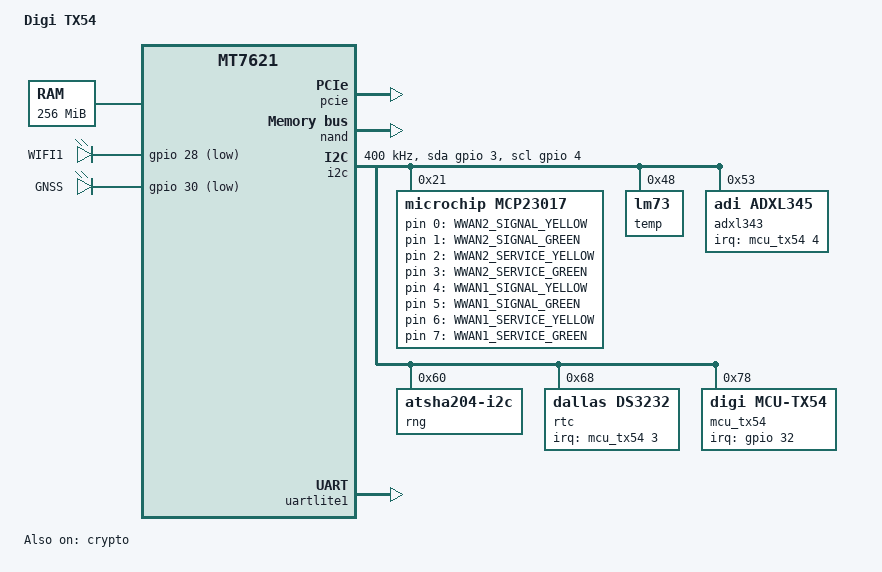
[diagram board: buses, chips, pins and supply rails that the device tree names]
/dts-v1/;

#include "mt7621.dtsi"
#include <dt-bindings/gpio/gpio.h>
#include "mt7621_pstore.dtsi"

/ {
	model = "Digi TX54";
	compatible = "digi,tx54", "mediatek,mt7621-soc";

	memory@0 {
		device_type = "memory";
		reg = <0x0 0x10000000>;
	};

	/* Have to swap serial port 0 and 1, because of historical reasons
	 * (bootloader is passing ttyS1 as console port) */
	aliases {
		serial0 = &uartlite1;
		serial1 = &uartlite0;
		serial2 = &uartlite2;
	};

	chosen {
		stdout-path = "serial1:115200";
	};

	leds {
		compatible = "gpio-leds";

		wwan2_signal_yellow {
			label = "WWAN2_SIGNAL_YELLOW";
			gpios = <&mcp23017 0 GPIO_ACTIVE_HIGH>;
			default-state = "off";
		};

		wwan2_signal_green {
			label = "WWAN2_SIGNAL_GREEN";
			gpios = <&mcp23017 1 GPIO_ACTIVE_HIGH>;
			default-state = "off";
		};

		wwan2_service_yellow {
			label = "WWAN2_SERVICE_YELLOW";
			gpios = <&mcp23017 2 GPIO_ACTIVE_HIGH>;
			default-state = "off";
		};

		wwan2_service_green {
			label = "WWAN2_SERVICE_GREEN";
			gpios = <&mcp23017 3 GPIO_ACTIVE_HIGH>;
			default-state = "off";
		};

		wwan1_signal_yellow {
			label = "WWAN1_SIGNAL_YELLOW";
			gpios = <&mcp23017 4 GPIO_ACTIVE_HIGH>;
			default-state = "off";
		};

		wwan1_signal_green {
			label = "WWAN1_SIGNAL_GREEN";
			gpios = <&mcp23017 5 GPIO_ACTIVE_HIGH>;
			default-state = "off";
		};

		wwan1_service_yellow {
			label = "WWAN1_SERVICE_YELLOW";
			gpios = <&mcp23017 6 GPIO_ACTIVE_HIGH>;
			default-state = "off";
		};

		wwan1_service_green {
			label = "WWAN1_SERVICE_GREEN";
			gpios = <&mcp23017 7 GPIO_ACTIVE_HIGH>;
			default-state = "off";
		};

		wifi1_green {
			label = "WIFI1";
			gpios = <&gpio 28 GPIO_ACTIVE_LOW>;
			default-state = "off";
		};

		gnss_green {
			label = "GNSS";
			gpios = <&gpio 30 GPIO_ACTIVE_LOW>;
			default-state = "off";
		};
	};
};

&pcie {
	pinctrl-names = "default";
	pinctrl-0 = <&pcie_pins>;
	status = "okay";
};

&nand {
	status = "okay";
	pin-ctrl-names = "default";
	pinctrl-0 = <&nand_pins>;

	partition@0 {
		label = "all";
		reg = <0x00000000 0>;
	};
	partition@1 {
		label = "u-boot";
		reg = <0x00000000 0x00200000>;
	};
	partition@2 {
		label = "u-boot-env";
		reg = <0x00200000 0x00100000>;
	};
	partition@3 {
		label = "u-boot-env1";
		reg = <0x00300000 0x00100000>;
	};
	partition@4 {
		label = "flash";
		reg = <0x00400000 0x09c00000>;
	};
	partition@5 {
		label = "userfs";
		reg = <0x0a000000 0x15f40000>;
	};
	partition@6 {
		label = "csid";
		reg = <0x1ff40000 0x00020000>;
	};
	partition@7 {
		label = "odm";
		reg = <0x1ff60000 0x00020000>;
	};
};

/* Overwrite dtsi's pinctrl. TX54 is using RGMII2 pins as GPIOs */
&ethernet {
	pinctrl-0 = <&mdio_pins>, <&rgmii1_pins>;
};

&switch0 {
	ports {
		port@1 {
			status = "okay";
			label = "eth1";
		};
		port@2 {
			status = "okay";
			label = "eth2";
		};
		port@3 {
			status = "okay";
			label = "eth3";
		};
		port@4 {
			status = "okay";
			label = "eth4";
		};
	};
};

&i2c {
	clock-frequency = <400000>;
	status = "okay";
	pinctrl-names = "default", "gpio";
	pinctrl-1 = <&i2c_gpios>;
	sda-gpios = <&gpio 3 GPIO_ACTIVE_HIGH>;
	scl-gpios = <&gpio 4 GPIO_ACTIVE_HIGH>;

	mcp23017: mcp23017@21 {
		compatible = "microchip,mcp23017";
		reg = <0x21>;
		gpio-controller;
		#gpio-cells = <2>;
	};

	temp: lm73@48 {
		compatible = "lm73";
		reg = <0x48>;
	};

	adxl343: adxl343@53 {
		compatible = "adi,adxl345";
		reg = <0x53>;
		interrupt-parent = <&mcu_tx54>;
		interrupts = <4>;
	};

	rng: atecc508a@60 {
		compatible = "atsha204-i2c";
		reg = <0x60>;
	};

	rtc: ds3232@68 {
		compatible = "dallas,ds3232";
		reg = <0x68>;
		interrupt-parent = <&mcu_tx54>;
		interrupts = <3>;
	};

	mcu_tx54: mcu@78 {
		compatible = "digi,mcu-tx54";
		reg = <0x78>;
		interrupt-parent = <&gpio>;
		interrupts = <32 IRQ_TYPE_EDGE_RISING>;
		interrupt-controller;
		#interrupt-cells = <1>;

		mcu_pwr_led: mcu_led {
			compatible = "digi,mcu-tx54-led";
			label = "POWER";
			linux,default-trigger = "timer";
		};

		poweroff {
			compatible = "digi,mcu-tx54-poweroff";
		};

		keys {
			compatible = "digi,mcu-tx54-keys";
		};

		battery {
			compatible = "digi,mcu-tx54-battery";
		};
	};
};

&uartlite1 {
	status = "okay";
	pinctrl-names = "default";
	pinctrl-0 = <&uart2_pins>;
};

&pinctrl {
	state_default: pinctrl0 {
		gpio {
			groups = "rgmii2";
			function = "gpio";
		};
	};

	i2c_gpios: i2c_gpios {
		i2c {
			groups = "i2c";
			function = "gpio";
		};
	};
};

&gpio {
	gpio-line-names = "", "", "", "", "", "", "", "",
			  "", "", "", "", "", "", "", "",
			  "", "", "", "", "", "", "", "",
			  "", "", "", "", "", "factory", "", "",
			  "", "", "", "", "", "", "", "",
			  "", "", "", "", "", "", "", "",
			  "", "", "", "", "", "", "", "",
			  "", "", "", "", "", "", "", "",
			  "", "", "", "", "", "", "", "",
			  "", "", "", "", "", "", "", "",
			  "", "", "", "", "", "", "", "",
			  "", "", "", "", "", "", "", "";
};

&crypto {
	status = "okay";
};

&wdt {
	mt7621,register-reset-handler;
};
